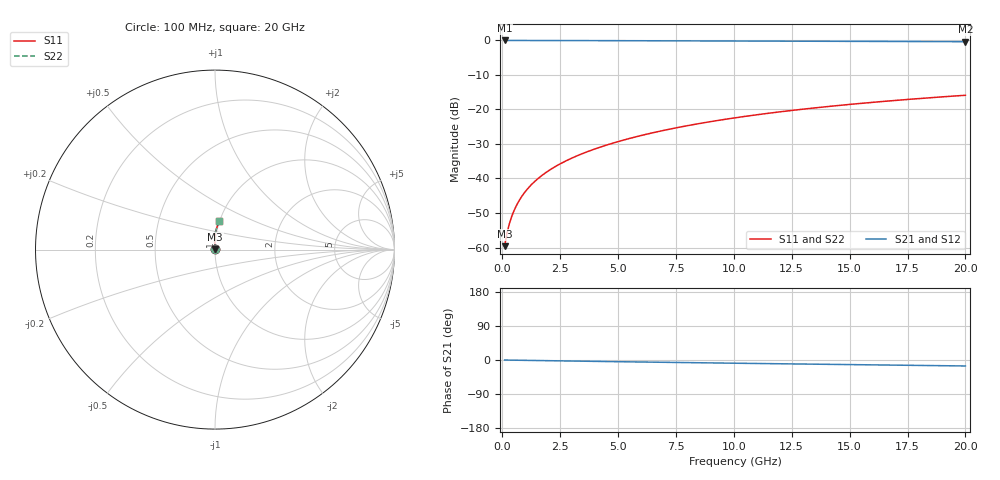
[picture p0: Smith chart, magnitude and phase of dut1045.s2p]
! Touchstone file exported from HFSS 2024.1.0
!  File:  C:/UserFiles/LocalFiles/RDL_TSV_Batchsim/temp_RDL_bottom_1045_1780051722.aedt
!  Generated:  06:51:12 PM May 29, 2026
!  Design:  RDL_bottom
!  Project:  temp_RDL_bottom_1045_1780051722
!  Setup:  Setup1
!  Solution:  Sweep
! Variables:
!  dtsv = 10.80580581um
!  hbump = 3um
!  htsv = 84.62um
!  ldown = 199.74um
!  lrdl = 100um
!  p = 40
!  p1 = 54.07um
!  rhole = 1um
!  t = 450um
!  tdown = 4.56um
!  trdl = 3.915915916um
!  wdown = 26.87um
!  wrdl = 20um
# GHz S MA R 50.000000
! Terminal data exported
! Port[1] = RDL1_T1
! Port[2] = RDL1_T2
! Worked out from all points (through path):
!   200 points, 100 MHz to 20 GHz, reference 50 ohm
!   highest |S21| = -0.01 dB at 100 MHz (marker M1); lowest = -0.4 dB at 20 GHz (marker M2)
!   group delay of S21, straight-line fit = 2.16 ps
!   lowest |S11| = -59.6 dB at 100 MHz (marker M3), VSWR 1.00, Z = 50.1 + j0.0713 ohm
!   |S11| at or under -10 dB: start of sweep to end of sweep
!   |S22| runs from -59.6 to -15.9 dB; largest |S21 - S12| = 7.4e-15
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0.1  0.001046 42.9  0.9992 -0.1  0.9992 -0.1  0.001046 42.9
! Gamma 0 0 0 0
! Port Impedance 50 0 50 0
0.2  0.001598 59.3  0.9992 -0.2  0.9992 -0.2  0.001598 59.3
0.3  0.00218 67.1  0.9991 -0.3  0.9991 -0.3  0.00218 67.1
0.4  0.002775 71.9  0.999 -0.4  0.999 -0.4  0.002775 71.9
0.5  0.00338 75.2  0.999 -0.5  0.999 -0.5  0.00338 75.2
0.6  0.003994 77.6  0.9989 -0.6  0.9989 -0.6  0.003994 77.6
0.8  0.00524 80.9  0.9988 -0.8  0.9988 -0.8  0.00524 80.9
1.1  0.007138 83.8  0.9986 -1.0  0.9986 -1.0  0.007138 83.8
1.5  0.009707 86.2  0.9982 -1.4  0.9982 -1.4  0.009707 86.2
1.8  0.01166 87.4  0.9978 -1.7  0.9978 -1.7  0.01166 87.4
2.1  0.01364 88.4  0.9974 -2.0  0.9974 -2.0  0.01364 88.4
2.7  0.01767 89.7  0.9965 -2.5  0.9965 -2.5  0.01767 89.7
3.5  0.02322 91.0  0.995 -3.2  0.995 -3.2  0.02322 91.0
4.2  0.02826 91.7  0.9935 -3.8  0.9935 -3.8  0.02826 91.7
5  0.03423 92.1  0.9916 -4.5  0.9916 -4.5  0.03423 92.1
6.8  0.0484 92.2  0.9873 -6.0  0.9873 -6.0  0.0484 92.2
8.4  0.06164 91.5  0.9835 -7.2  0.9835 -7.2  0.06164 91.5
10.1  0.07611 90.3  0.9796 -8.5  0.9796 -8.5  0.0761 90.3
11.7  0.08989 89.0  0.976 -9.7  0.976 -9.7  0.08989 89.0
13.4  0.1046 87.4  0.9725 -11.0  0.9725 -11.0  0.1046 87.4
16.7  0.1329 84.2  0.9658 -13.4  0.9658 -13.4  0.1329 84.2
20  0.1606 81.1  0.9592 -15.8  0.9592 -15.8  0.1606 81.1
